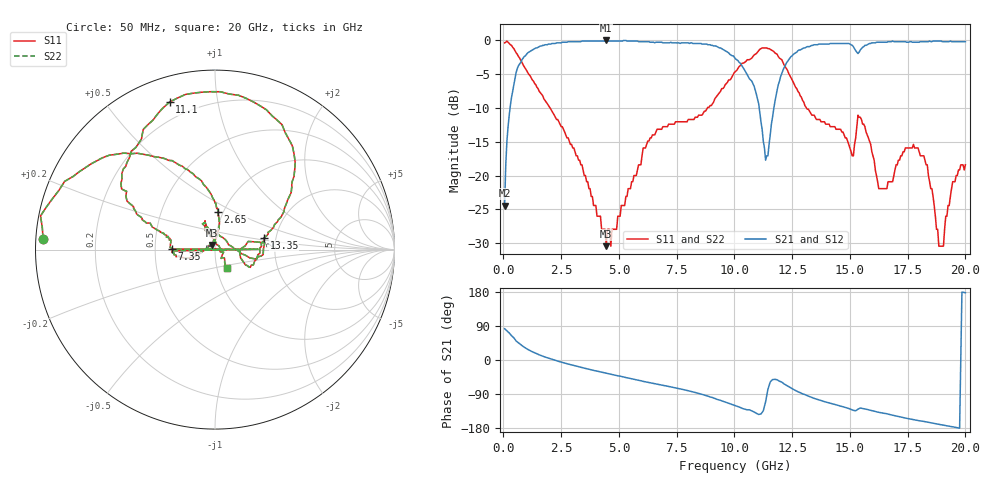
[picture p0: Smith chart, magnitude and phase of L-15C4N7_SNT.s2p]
# MHZ S MA R 50
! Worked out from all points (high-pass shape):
!   400 points, 50 MHz to 20 GHz, reference 50 ohm
!   highest |S21| = 0.00 dB at 4.45 GHz (marker M1); lowest = -24.4 dB at 50 MHz (marker M2)
!   |S21| within 3 dB of the highest: 780.2 MHz to 10.16 GHz (9.375 GHz wide, 171 % of centre); 12.32 GHz to end of sweep
!   lowest |S11| = -30.5 dB at 4.45 GHz (marker M3), VSWR 1.06, Z = 48.5 + j2.53 ohm
!   |S11| at or under -10 dB: 2.019 GHz to 8.831 GHz (6.813 GHz wide, 126 % of centre); 13.12 GHz to end of sweep
!   |S22| runs from -30.5 to -0.1 dB; largest |S21 - S12| = 0
!   S11 on the Smith chart (normalised r, x): 50 MHz: 0.02, +0.03; 2.65 GHz: 0.95, +0.41; 7.35 GHz: 0.61, +0.00; 11.1 GHz: 0.12, +0.73; 13.35 GHz: 1.73, +0.24; 20 GHz: 1.12, -0.23
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50  0.96 176.4  0.06 82.6  0.06 82.6  0.96 176.4
200  0.97 166.0  0.23 74.1  0.23 74.1  0.97 166.0
600  0.79 138.3  0.62 47.7  0.62 47.7  0.79 138.3
2650  0.21 85.3  0.97 -8.0  0.97 -8.0  0.21 85.3
3400  0.12 79.9  0.99 -20.0  0.99 -20.0  0.12 79.9
4450  0.03 119.5  1 -35.0  1 -35.0  0.03 119.5
6700  0.22 -170.2  0.97 -64.1  0.97 -64.1  0.22 -170.2
7250  0.24 -178.3  0.97 -71.0  0.97 -71.0  0.24 -178.3
7300  0.24 0.5  0.96 -71.7  0.96 -71.7  0.24 0.5
7350  0.24 179.3  0.96 -72.3  0.96 -72.3  0.24 179.3
10050  0.59 146.6  0.73 -120.9  0.73 -120.9  0.59 146.6
11100  0.86 107.1  0.29 -143.1  0.29 -143.1  0.86 107.1
11350  0.88 91.5  0.13 -110.3  0.13 -110.3  0.88 91.5
12050  0.72 53.2  0.57 -58.3  0.57 -58.3  0.72 53.2
13350  0.28 13.5  0.92 -98.9  0.92 -98.9  0.28 13.5
16700  0.09 87.5  0.98 -143.6  0.98 -143.6  0.09 87.5
17950  0.16 116.0  0.97 -159.8  0.97 -159.8  0.16 116.0
19050  0.03 -22.8  0.98 -171.9  0.98 -171.9  0.03 -22.8
19750  0.11 -58.0  0.98 -179.9  0.98 -179.9  0.11 -58.0
19800  0.12 -57.3  0.98 -0.3  0.98 -0.3  0.12 -57.3
19850  0.12 -56.5  0.98 179.2  0.98 179.2  0.12 -56.5
20000  0.12 -56.9  0.98 177.6  0.98 177.6  0.12 -56.9
